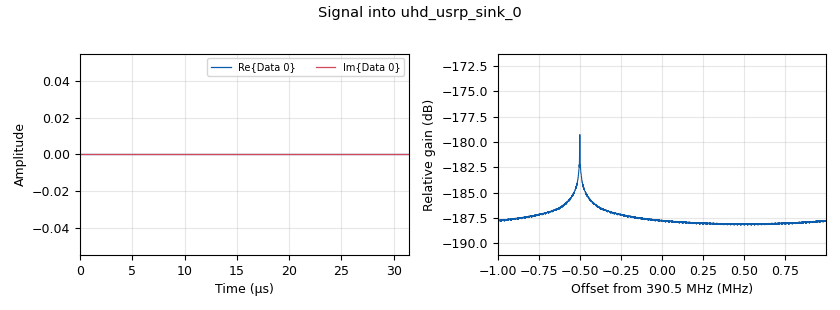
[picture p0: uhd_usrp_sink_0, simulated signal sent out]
options:
  parameters:
    generate_options: qt_gui
    id: top_block
    output_language: python
  states: {}

blocks:
- name: bits_0_5
  id: variable
  parameters:
    comment: |-
      Modify these bits
      to control the
      second door
    value: seq_one + seq_zero + seq_one + seq_zero + seq_one + seq_one
  states: {}
- name: bits_7_8
  id: variable
  parameters:
    comment: |-
      Modify these bits
      to control the
      second door
    value: seq_one + seq_zero
  states: {}
- name: center_freq
  id: variable
  parameters:
    value: 390.5e6
  states: {}
- name: dead_air
  id: variable
  parameters:
    value: 40*(0,)
  states: {}
- name: freq
  id: variable_qtgui_entry
  parameters:
    type: real
    value: 390e6
  states: {}
- name: payload
  id: variable
  parameters:
    value: 'seq_x + bits_0_5 + seq_x + bits_7_8 + seq_x '
  states: {}
- name: rf_gain
  id: variable_qtgui_range
  parameters:
    orient: Qt.Horizontal
    start: '0'
    step: '5'
    stop: '50'
    value: '50'
  states: {}
- name: samp_rate
  id: variable
  parameters:
    value: 2e6
  states: {}
- name: seq_one
  id: variable
  parameters:
    value: (0, 0, 1, 1)
  states: {}
- name: seq_x
  id: variable
  parameters:
    value: (0, 0, 0, 1)
  states: {}
- name: seq_zero
  id: variable
  parameters:
    value: (0, 1, 1, 1)
  states: {}
- name: symbol_time
  id: variable
  parameters:
    value: '1e-3'
  states: {}
- name: analog_sig_source_x_0
  id: analog_sig_source_x
  parameters:
    amp: '1'
    freq: freq-center_freq
    offset: '0'
    phase: '0'
    samp_rate: samp_rate
    type: complex
    waveform: analog.GR_COS_WAVE
  states: {}
- name: blocks_float_to_complex_0
  id: blocks_float_to_complex
  parameters: {}
  states: {}
- name: blocks_multiply_xx_0
  id: blocks_multiply_xx
  parameters:
    type: complex
  states: {}
- name: blocks_repeat_0
  id: blocks_repeat
  parameters:
    interp: int(samp_rate*symbol_time)
    type: float
  states: {}
- name: blocks_vector_source_x_0_0_0_1_0
  id: blocks_vector_source_x
  parameters:
    repeat: 'False'
    type: float
    vector: 10* (dead_air + payload)
  states: {}
- name: uhd_usrp_sink_0
  id: uhd_usrp_sink
  parameters:
    ant0: TX/RX
    center_freq0: center_freq
    clock_rate: '0.0'
    dev_args: '""'
    gain0: rf_gain
    len_tag_name: ''
    norm_gain0: 'False'
    samp_rate: samp_rate
    sync: sync
    type: fc32
  states: {}

connections:
- [analog_sig_source_x_0, '0', blocks_multiply_xx_0, '1']
- [blocks_float_to_complex_0, '0', blocks_multiply_xx_0, '0']
- [blocks_multiply_xx_0, '0', uhd_usrp_sink_0, '0']
- [blocks_repeat_0, '0', blocks_float_to_complex_0, '0']
- [blocks_vector_source_x_0_0_0_1_0, '0', blocks_repeat_0, '0']

metadata:
  file_format: 1
